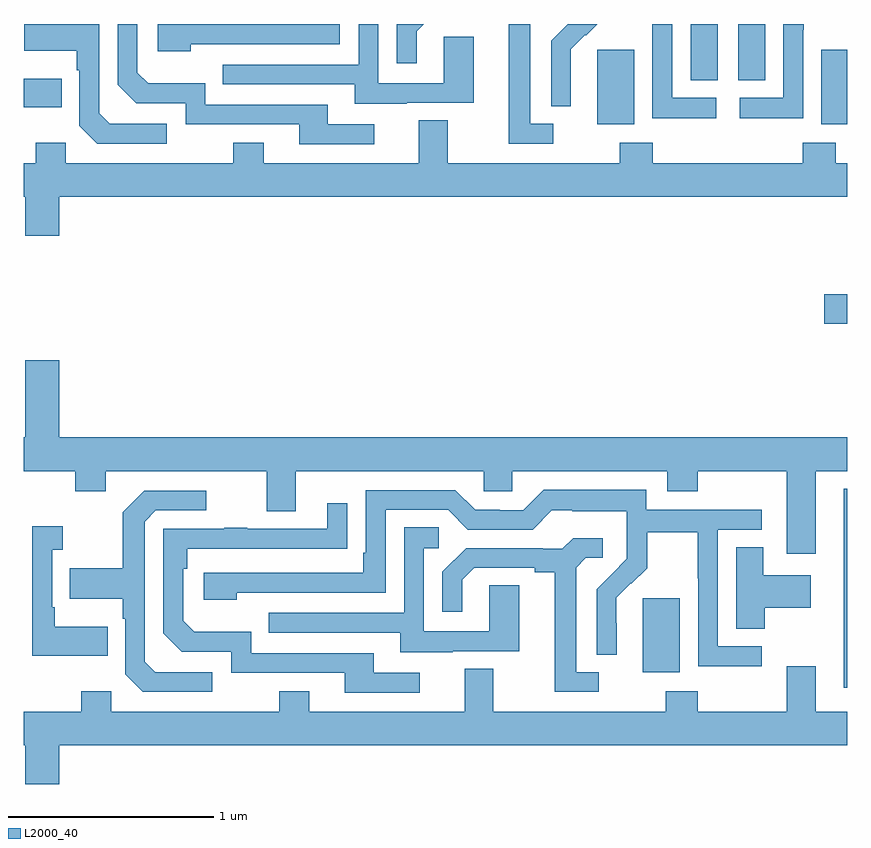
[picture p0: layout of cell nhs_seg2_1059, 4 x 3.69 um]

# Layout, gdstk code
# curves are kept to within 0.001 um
import gdstk
lib = gdstk.Library(unit=1e-6, precision=1e-09)
def R(c, l, rs):  # rectangles x0, y0, x1, y1
    for r in rs: c.add(gdstk.rectangle(r[:2], r[2:], *l))
def P(c, l, *ps):  # polygons
    for p in ps: c.add(gdstk.Polygon(p, *l))
L2000_40 = (2000, 40)

nhs_seg2_1059 = lib.new_cell('nhs_seg2_1059')
R(nhs_seg2_1059, L2000_40, [(168.983,654.576,169,655.543), (168.008,654.65,168.187,655.011), (168.888,656.345,169,656.487), (167.786,657.314,167.965,657.675), (168.875,657.314,169,657.675), (165,657.395,165.185,657.535), (168.239,657.526,168.37,657.8), (168.47,657.526,168.601,657.8)])
P(nhs_seg2_1059, L2000_40, [(168.786,657.772),(168.789,657.772),(168.789,657.8),(168.69,657.8),(168.69,657.441),(168.477,657.441),(168.477,657.343),(168.786,657.343)],
  [(165.812,657.702),(166.536,657.702),(166.536,657.8),(166.427,657.8),(166.427,657.798),(165.651,657.798),(165.651,657.668),(165.812,657.668)],
  [(167.658,657.554),(167.657,657.554),(167.657,657.677),(167.727,657.747),(167.73,657.744),(167.786,657.8),(167.642,657.8),(167.634,657.792),(167.635,657.791),(167.562,657.718),(167.562,657.4),(167.658,657.4)],
  [(168.364,657.441),(168.15,657.441),(168.15,657.8),(168.052,657.8),(168.052,657.772),(168.054,657.772),(168.054,657.343),(168.364,657.343)],
  [(165.694,657.315),(165.417,657.315),(165.366,657.366),(165.366,657.8),(165.001,657.8),(165.001,657.671),(165.258,657.671),(165.258,657.575),(165.27,657.575),(165.27,657.306),(165.357,657.219),(165.694,657.219)],
  [(166.702,657.312),(166.477,657.312),(166.477,657.408),(165.882,657.408),(165.882,657.511),(165.605,657.511),(165.552,657.564),(165.552,657.8),(165.456,657.8),(165.456,657.504),(165.546,657.414),(165.786,657.414),(165.786,657.312),(166.337,657.312),(166.337,657.216),(166.702,657.216)],
  [(166.861,657.417),(167.185,657.417),(167.185,657.737),(167.04,657.737),(167.04,657.513),(166.722,657.513),(166.722,657.8),(166.626,657.8),(166.626,657.603),(165.967,657.603),(165.967,657.507),(166.607,657.507),(166.607,657.413),(166.861,657.413)],
  [(166.909,657.765),(166.944,657.8),(166.812,657.8),(166.812,657.609),(166.909,657.609)],
  [(167.572,657.315),(167.461,657.315),(167.461,657.8),(167.357,657.8),(167.357,657.219),(167.572,657.219)],
  [(165.172,656.96),(169,656.96),(169,657.124),(168.945,657.124),(168.945,657.223),(168.785,657.223),(168.785,657.124),(168.056,657.124),(168.056,657.223),(167.896,657.223),(167.896,657.124),(167.059,657.124),(167.059,657.332),(166.919,657.332),(166.919,657.124),(166.165,657.124),(166.165,657.223),(166.018,657.223),(166.018,657.124),(165.204,657.124),(165.204,657.223),(165.058,657.223),(165.058,657.124),(165,657.124),(165,656.96),(165.008,656.96),(165.008,656.772),(165.172,656.772)],
  [(168.847,655.628),(169,655.628),(169,655.792),(165.172,655.792),(165.172,656.167),(165.008,656.167),(165.008,655.792),(165,655.792),(165,655.628),(165.25,655.628),(165.25,655.529),(165.397,655.529),(165.397,655.628),(166.181,655.628),(166.181,655.434),(166.321,655.434),(166.321,655.628),(167.235,655.628),(167.235,655.53),(167.373,655.53),(167.373,655.628),(168.125,655.628),(168.125,655.529),(168.273,655.529),(168.273,655.628),(168.707,655.628),(168.707,655.227),(168.847,655.227)],
  [(168.586,654.777),(168.372,654.777),(168.372,655.344),(168.586,655.344),(168.586,655.44),(168.024,655.44),(168.024,655.537),(167.527,655.537),(167.427,655.437),(167.312,655.437),(167.312,655.44),(167.193,655.44),(167.097,655.536),(166.662,655.536),(166.662,655.231),(166.649,655.231),(166.649,655.134),(165.873,655.134),(165.873,655.004),(166.034,655.004),(166.034,655.038),(166.758,655.038),(166.758,655.44),(167.061,655.44),(167.157,655.344),(167.472,655.344),(167.565,655.437),(167.665,655.437),(167.665,655.433),(167.928,655.433),(167.928,655.299),(167.93,655.299),(167.93,655.202),(167.784,655.054),(167.784,654.736),(167.88,654.736),(167.879,655.013),(167.949,655.083),(167.952,655.08),(168.029,655.157),(168.029,655.332),(168.274,655.332),(168.274,655.108),(168.276,655.108),(168.276,654.679),(168.586,654.679)],
  [(165.916,654.651),(165.639,654.651),(165.588,654.702),(165.588,655.383),(165.642,655.437),(165.886,655.437),(165.886,655.533),(165.585,655.533),(165.48,655.427),(165.48,655.155),(165.223,655.155),(165.223,655.007),(165.48,655.007),(165.48,654.911),(165.492,654.911),(165.492,654.642),(165.579,654.555),(165.916,654.555)],
  [(166.924,654.648),(166.699,654.648),(166.699,654.744),(166.104,654.744),(166.104,654.847),(165.827,654.847),(165.774,654.9),(165.774,655.154),(165.794,655.154),(165.794,655.251),(166.571,655.252),(166.571,655.471),(166.475,655.471),(166.475,655.347),(166.085,655.347),(166.085,655.352),(165.973,655.352),(165.973,655.347),(165.678,655.347),(165.678,654.84),(165.768,654.75),(166.008,654.75),(166.008,654.648),(166.559,654.648),(166.559,654.552),(166.924,654.552)],
  [(165.407,654.871),(165.151,654.871),(165.151,654.967),(165.138,654.967),(165.138,655.247),(165.19,655.247),(165.19,655.36),(165.041,655.36),(165.041,654.731),(165.407,654.731)],
  [(167.083,654.753),(167.407,654.753),(167.407,655.073),(167.262,655.073),(167.262,654.849),(166.944,654.849),(166.944,655.254),(167.017,655.254),(167.017,655.355),(166.848,655.355),(166.848,654.939),(166.189,654.939),(166.189,654.843),(166.829,654.843),(166.829,654.749),(167.083,654.749)],
  [(167.794,654.651),(167.683,654.651),(167.683,655.159),(167.73,655.206),(167.812,655.206),(167.812,655.303),(167.668,655.303),(167.616,655.251),(167.522,655.251),(167.522,655.254),(167.15,655.254),(167.034,655.138),(167.034,654.945),(167.131,654.945),(167.131,655.101),(167.188,655.158),(167.483,655.158),(167.483,655.136),(167.579,655.136),(167.579,654.555),(167.794,654.555)],
  [(168.6,654.965),(168.823,654.965),(168.823,655.123),(168.592,655.123),(168.592,655.259),(168.461,655.259),(168.461,654.862),(168.6,654.862)],
  [(165.172,654.296),(169,654.296),(169,654.46),(168.847,654.46),(168.847,654.679),(168.707,654.679),(168.707,654.46),(168.273,654.46),(168.273,654.559),(168.118,654.559),(168.118,654.46),(167.281,654.46),(167.281,654.668),(167.141,654.668),(167.141,654.46),(166.387,654.46),(166.387,654.559),(166.24,654.559),(166.24,654.46),(165.426,654.46),(165.426,654.559),(165.28,654.559),(165.28,654.46),(165,654.46),(165,654.296),(165.008,654.296),(165.008,654.108),(165.172,654.108)])

lib.write_gds('nhs_seg2_1059.gds')
